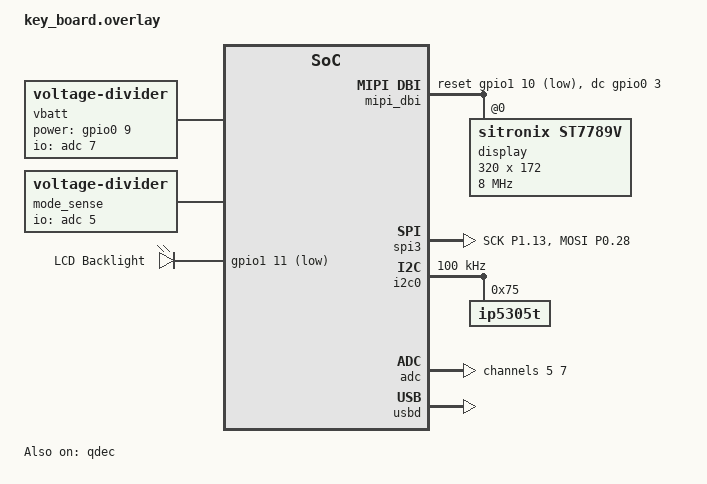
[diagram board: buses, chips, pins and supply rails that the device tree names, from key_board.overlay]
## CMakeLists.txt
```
# SPDX-License-Identifier: Apache-2.0

cmake_minimum_required(VERSION 3.20.0)

find_package(Zephyr REQUIRED HINTS $ENV{ZEPHYR_BASE})
project(KEYBOARD)

zephyr_include_directories(inc)

target_sources(app PRIVATE src/main.c src/battery.c src/mode_switch.c src/power_mgmt.c src/events/battery_event.c src/events/mode_event.c src/events/encoder_event.c src/events/encoder_mapper.c src/encoder_button_control.c src/encoder.c src/keyboard_core.c src/keymap.c src/usb_transport.c src/ble_transport.c src/lcd_display.c src/events/hid_kbd_report_event.c src/events/hid_consumer_report_event.c src/events/set_protocol_event.c src/events/ble_state_event.c src/events/ble_control_event.c)
```

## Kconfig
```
mainmenu "NRF Keyboard"

source "$(ZEPHYR_BASE)/Kconfig.zephyr"

rsource "Kconfig.app"
```

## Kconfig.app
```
config NRF_KEYBOARD_KCONFIG_TEST
	bool "NRF Keyboard Kconfig probe"
	default y
	help
	  探针：验证应用 Kconfig.app 是否被加载。
	  构建后检查 CONFIG_NRF_KEYBOARD_KCONFIG_TEST=y。

menu "应用模块日志等级"

module = BLE_TRANSPORT
module-str = ble_transport
source "$(ZEPHYR_BASE)/subsys/logging/Kconfig.template.log_config"

module = USB_TRANSPORT
module-str = usb_transport
source "$(ZEPHYR_BASE)/subsys/logging/Kconfig.template.log_config"

module = KEYBOARD_CORE
module-str = keyboard_core
source "$(ZEPHYR_BASE)/subsys/logging/Kconfig.template.log_config"

module = MODE_SWITCH
module-str = mode_switch
source "$(ZEPHYR_BASE)/subsys/logging/Kconfig.template.log_config"

module = POWER_MGMT
module-str = power_mgmt
source "$(ZEPHYR_BASE)/subsys/logging/Kconfig.template.log_config"

module = ENCODER
module-str = encoder
source "$(ZEPHYR_BASE)/subsys/logging/Kconfig.template.log_config"

module = ENCODER_MAPPER
module-str = encoder_mapper
source "$(ZEPHYR_BASE)/subsys/logging/Kconfig.template.log_config"

module = ENCODER_BUTTON_CONTROL
module-str = encoder_button_control
source "$(ZEPHYR_BASE)/subsys/logging/Kconfig.template.log_config"

module = BATTERY
module-str = battery
source "$(ZEPHYR_BASE)/subsys/logging/Kconfig.template.log_config"

module = MAIN
module-str = main
source "$(ZEPHYR_BASE)/subsys/logging/Kconfig.template.log_config"

endmenu
```

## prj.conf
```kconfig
# ==============================================================================
# 1. 基础系统配置 (System Configuration)
# ==============================================================================
CONFIG_HEAP_MEM_POOL_SIZE=2048
CONFIG_ASSERT=y

# ==============================================================================
# 2. 硬件外设驱动 (Hardware Drivers)
# ==============================================================================
CONFIG_GPIO=y
CONFIG_I2C=y
CONFIG_SPI=y

# ==============================================================================
# 3. 日志与调试终端 (Logging & Debugging - RTT)
# ==============================================================================
CONFIG_LOG=y
CONFIG_LOG_DEFAULT_LEVEL=3
CONFIG_LOG_BUFFER_SIZE=4096
CONFIG_CONSOLE=y
CONFIG_USE_SEGGER_RTT=y
CONFIG_RTT_CONSOLE=y

# ==============================================================================
# 4. 事件管理器与 CAF 框架 (Event Manager & CAF)
# ==============================================================================
# 这些是实现按键事件扫描和分发的核心，必须开启！
CONFIG_APP_EVENT_MANAGER=y
CONFIG_APP_EVENT_MANAGER_LOG_LEVEL_DBG=y
CONFIG_CAF=y
CONFIG_CAF_BUTTONS=y


# ==============================================================================
# 5. 电源管理模块 (CAF Power Manager)
# ==============================================================================
CONFIG_REBOOT=y
CONFIG_CAF_POWER_MANAGER=y

# [调试专用] 开启后设备会永远保持唤醒，不会进入休眠（会屏蔽下方的 120 秒超时）
# 如果你要测试 120 秒自动休眠，请把下面这行前面的 # 号保留（即注释掉）
CONFIG_CAF_POWER_MANAGER_STAY_ON=y

CONFIG_CAF_POWER_MANAGER_TIMEOUT=120
CONFIG_CAF_POWER_MANAGER_ERROR_TIMEOUT=30
CONFIG_CAF_POWER_MANAGER_CLEAR_RESET_REASON=y

# 开启事件防休眠机制（按键操作会重置休眠定时器，重新计算 120 秒）
CONFIG_CAF_KEEP_ALIVE_EVENTS=y
CONFIG_CAF_BUTTONS_PM_KEEP_ALIVE=y

# ==============================================================================
# 6. ADC 与电池电压检测 (ADC & Battery Voltage)
# ==============================================================================
CONFIG_ADC=y
CONFIG_SENSOR=y
CONFIG_VOLTAGE_DIVIDER=y
CONFIG_PM_DEVICE=y
CONFIG_PM_DEVICE_RUNTIME=y

# ==============================================================================
# 7. USB 设备驱动 (USBD Next Stack + HID)
# ==============================================================================
# 1. 彻底关闭老版本 USB 栈（防止符号冲突）
CONFIG_USB_DEVICE_STACK=n
# 2. 正确开启新版本 USB 设备栈
CONFIG_USB_DEVICE_STACK_NEXT=y
# 3. 开启新版 HID 键盘支持
CONFIG_USBD_HID_SUPPORT=y
# 4. 开启类请求分发器，让 HID 驱动自动应答 SET_IDLE/GET_IDLE
CONFIG_USB_DEVICE_STACK_NEXT=y
CONFIG_USBD_HID_SUPPORT=y
# 5. 开启底层协议栈详细调试日志（定位描述符问题用，稳定后可关闭）
CONFIG_USB_DEVICE_LOG_LEVEL_DBG=y
# 修正：新版协议栈的调试日志符号（若不需要可以不加，需要则用下面这行）
CONFIG_USBD_LOG_LEVEL_WRN=y
CONFIG_UDC_DRIVER_LOG_LEVEL_WRN=y
CONFIG_USBD_HID_LOG_LEVEL_WRN=y
# 6. 增大 USB HID IN 缓冲池（默认2），修复按键高峰期 net_buf 分配失败
CONFIG_USBD_HID_IN_BUF_COUNT=8
# USB Device Stack Next: enlarge UDC buffer pool
# Fix: udc Failed to allocate net_buf 1026/4095 during EP0 control transfers.
CONFIG_UDC_BUF_COUNT=32
CONFIG_UDC_BUF_POOL_SIZE=8192
# ==============================================================================
# 8. Ring Buffer (环形缓冲区 — USB 传输层生产者/消费者桥梁)
# ==============================================================================
CONFIG_RING_BUFFER=y

# ==============================================================================
# 9. BLE HID 传输层 (Bluetooth HID over GATT)
# ==============================================================================
CONFIG_BT=y
CONFIG_BT_PERIPHERAL=y
CONFIG_BT_DEVICE_NAME="NRF Keyboard"
CONFIG_BT_DEVICE_APPEARANCE=961
CONFIG_BT_SMP=y
CONFIG_BT_BONDABLE=y
CONFIG_BT_MAX_PAIRED=1
CONFIG_BT_ID_MAX=2
CONFIG_BT_GATT_CLIENT=n
CONFIG_BT_SETTINGS=y
CONFIG_BT_BUF_EVT_RX_COUNT=32
CONFIG_BT_BUF_ACL_TX_COUNT=24
CONFIG_BT_CONN_TX_MAX=24
# 回退连接参数至安全默认值，为主机留出充裕的协商空间（修复 Reason 8 / Reason 22 断连）
CONFIG_BT_PERIPHERAL_PREF_MIN_INT=24
CONFIG_BT_PERIPHERAL_PREF_MAX_INT=40
CONFIG_BT_PERIPHERAL_PREF_LATENCY=4
CONFIG_BT_PERIPHERAL_PREF_TIMEOUT=400
CONFIG_BT_L2CAP_TX_BUF_COUNT=24
CONFIG_BT_ATT_TX_COUNT=24

# BLE pairing stability / debug
CONFIG_BT_GATT_AUTO_SEC_REQ=n
CONFIG_BT_AUTO_PHY_UPDATE=n
CONFIG_BT_SECURITY_ERR_TO_STR=y
CONFIG_BT_SMP_APP_PAIRING_ACCEPT=y
CONFIG_BT_HIDS_DEFAULT_PERM_RW_ENCRYPT=y

# ==============================================================================
# 10. Settings 持久化存储 (保存 BLE bonding 与 CCCD)
# ==============================================================================
CONFIG_FLASH=y
CONFIG_FLASH_MAP=y
CONFIG_NVS=y
CONFIG_SETTINGS=y
CONFIG_SETTINGS_NVS=y

# ==============================================================================
# 11. QDEC 正交解码器 (用于 EC11 旋转编码器)
# ==============================================================================
CONFIG_QDEC_NRFX=y

# ==============================================================================
# 12. LVGL 图形库 (LVGL v9.3.0 Graphics Library)
# ==============================================================================
CONFIG_LVGL=y
CONFIG_LV_COLOR_DEPTH_16=y
CONFIG_LV_Z_BITS_PER_PIXEL=16
CONFIG_LV_Z_MEM_POOL_SIZE=8192
CONFIG_LV_USE_LABEL=y
CONFIG_LV_FONT_MONTSERRAT_14=y
CONFIG_LV_Z_RUN_LVGL_ON_WORKQUEUE=y
CONFIG_DISPLAY=y
# LVGL 在 Zephyr 专用工作队列运行 lv_timer_handler，并自动初始化
CONFIG_LV_Z_RUN_LVGL_ON_WORKQUEUE=y
# Zephyr ST7789V display driver 接管硬件初始化
CONFIG_DISPLAY=y
CONFIG_ST7789V=y
CONFIG_ST7789V_RGB565=y

# ==============================================================================
# 13. 模块级日志分级覆写 (Per-Module Log Level Override)
# ==============================================================================
# 全局 CONFIG_LOG_DEFAULT_LEVEL=4 会触发内核 MPU 模块日志洪灾
# (mpu_configure_region / region_allocate_and_init 高频打印)，
# 导致 RTT 后端丢包，冲刷业务模块探测点。
# 以下强制压制 MPU 日志输出，将 RTT 带宽留给 power_mgmt 等业务模块。
CONFIG_MPU_LOG_LEVEL_ERR=y
```

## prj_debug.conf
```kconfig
# ==============================================================================
# 调试叠加配置 — 仅在开发/调试时使用
# 使用方式: west build -- -DEXTRA_CONF_FILE=prj_debug.conf
#
# 按任务只打开当前调试模块，不要全开。
# ==============================================================================

# --- USB 传输层 (当前正在调试) ---
# CONFIG_USB_TRANSPORT_LOG_LEVEL_DBG=y

# --- BLE 传输层 (已稳定，需要时取消注释) ---
# CONFIG_BLE_TRANSPORT_LOG_LEVEL_DBG=y

# --- 键盘核心 ---
# CONFIG_KEYBOARD_CORE_LOG_LEVEL_DBG=y

# --- 电源管理 ---
# CONFIG_POWER_MGMT_LOG_LEVEL_DBG=y

# --- 档位检测 ---
# CONFIG_MODE_SWITCH_LOG_LEVEL_DBG=y

# --- 编码器 ---
# CONFIG_ENCODER_LOG_LEVEL_DBG=y
# CONFIG_ENCODER_MAPPER_LOG_LEVEL_DBG=y
```

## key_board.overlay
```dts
/*
 * Battery voltage measurement using voltage-divider.
 *
 * Circuit:
 *   VBAT ── R6(100k) ──┬── BAT_ADC ── R8(100k) ── Q1(N-MOSFET) ── GND
 *                       │
 *                     C29(100nF)
 *                       │
 *                      GND
 *
 *   Q1 gate: BAT_ADC_EN (P0.09 / NFC1) ── HIGH = divider active, LOW = power saving
 *   BAT_ADC: P0.31 = AIN7
 *
 *   注意: P0.09 默认是 NFC1 天线引脚，需在 prj.conf 开启
 *   CONFIG_NFCT_PINS_AS_GPIOS=y 才能释放为 GPIO。
 */

#include <zephyr/dt-bindings/gpio/gpio.h>
#include <zephyr/dt-bindings/mipi_dbi/mipi_dbi.h>

/ {
    chosen {
        zephyr,display = &display;
    };

    vbatt: vbatt {
        compatible = "voltage-divider";
        io-channels = <&adc 7>;
        output-ohms = <100000>;
        full-ohms = <200000>;
        /*
         * BAT_ADC_EN — P0.09, 控制 N-MOS (Q1) 导通/关断分压电路。
         * HIGH = 分压使能, LOW = 省电。
         * 分压比 1: 2 (R6=R8=100k), 驱动自动还原真实电池电压。
         * C29=100nF, Rth=50kΩ, τ=5ms, 需 ≥6τ (30ms) 延时方可 ADC 采样。
         */
        power-gpios = <&gpio0 9 GPIO_ACTIVE_HIGH>;
    };

    mode_sense: mode_sense {
        compatible = "voltage-divider";
        io-channels = <&adc 5>;
        output-ohms = <100000>;
        full-ohms = <100000>;
    };

    /*
     * IP5305T WAKEUP control GPIO — P0.22.
     * Output, initially high. A periodic low pulse (~200μs) every ~2s
     * keeps the IP5305T from entering sleep mode.
     */
    ip5305t_wakeup: ip5305t-wakeup {
        gpios = <&gpio0 22 GPIO_ACTIVE_LOW>;
    };

    lcd_backlight_ctrl {
        compatible = "gpio-leds";

        lcd_backlight: lcd_backlight {
            gpios = <&gpio1 11 GPIO_ACTIVE_LOW>;
            label = "LCD Backlight";
        };
    };

/*
 * MIPI DBI SPI ST7789V 显示设备。
 * 由 Zephyr display driver 接管硬件初始化（上电序列、窗口、像素写入），
 * LVGL 通过 display API 渲染，自定义 flush_cb 不再需要。
 */
mipi_dbi: mipi-dbi-spi {
    compatible = "zephyr,mipi-dbi-spi";
    spi-dev = <&spi3>;
    dc-gpios = <&gpio0 3 GPIO_ACTIVE_HIGH>;
    reset-gpios = <&gpio1 10 GPIO_ACTIVE_LOW>;
    write-only;
    #address-cells = <1>;
    #size-cells = <0>;

    display: st7789v@0 {
        compatible = "sitronix,st7789v";
        reg = <0>;
        mipi-max-frequency = <8000000>;
        mipi-mode = "MIPI_DBI_MODE_SPI_4WIRE";
        width = <320>;
        height = <172>;
        x-offset = <0>;
        y-offset = <35>;
        vcom = <0x20>;
        gctrl = <0x35>;
        mdac = <0xa0>;
        lcm = <0x2c>;
        colmod = <0x55>;
        gamma = <0x04>;
        porch-param = [0c 0c 00 33 33];
        cmd2en-param = [ff ff ff];
        pwctrl1-param = [a4 a1];
        pvgam-param = [f0 00 04 04 05 07 32 34 3d 08 11 0f 2c 33];
        nvgam-param = [f0 07 09 04 0c 08 2e 2b 2b 18 16 11 30 33];
        ram-param = [00 f0];
        rgb-param = [cd 08 14];
    };
};

};

&pinctrl {
    spi3_default: spi3_default {
        group1 {
            psels = <NRF_PSEL(SPIM_SCK, 1, 13)>,
                    <NRF_PSEL(SPIM_MOSI, 0, 28)>;
        };
    };

    spi3_sleep: spi3_sleep {
        group1 {
            psels = <NRF_PSEL_DISCONNECTED(SPIM_SCK)>,
                    <NRF_PSEL_DISCONNECTED(SPIM_MOSI)>;
            low-power-enable;
        };
    };
};

&spi3 {
    status = "okay";
    pinctrl-0 = <&spi3_default>;
    pinctrl-1 = <&spi3_sleep>;
    pinctrl-names = "default", "sleep";
    cs-gpios = <&gpio0 2 GPIO_ACTIVE_LOW>;
};

/*
 * I2C bus for IP5305T communication.
 * SDA: P1.00 (pin 32), SCL: P0.24 (pin 24)
 */
&i2c0 {
    status = "okay";
    pinctrl-0 = <&i2c0_default>;
    pinctrl-1 = <&i2c0_sleep>;
    pinctrl-names = "default", "sleep";
    clock-frequency = <I2C_BITRATE_STANDARD>;

    ip5305t: ip5305t@75 {
        reg = <0x75>;
    };
};

&adc {
    status = "okay";
    #address-cells = <1>;
    #size-cells = <0>;

    channel@5 {
        reg = <5>;
        zephyr,gain = "ADC_GAIN_1_6";
        zephyr,reference = "ADC_REF_INTERNAL";
        zephyr,acquisition-time = <ADC_ACQ_TIME_DEFAULT>;
        zephyr,input-positive = <NRF_SAADC_AIN5>;
        zephyr,resolution = <12>;
    };

    channel@7 {
        reg = <7>;
        zephyr,gain = "ADC_GAIN_1_6";
        zephyr,reference = "ADC_REF_INTERNAL";
        zephyr,acquisition-time = <ADC_ACQ_TIME_DEFAULT>;
        zephyr,input-positive = <NRF_SAADC_AIN7>;
        zephyr,resolution = <12>;
    };
};

/*
 * QDEC 旋转编码器 — EC11 (P0.10=A相, P1.06=B相)
 * P0.10 原为 VBUS 检测 GPIO，现已迁移至 USBD 硬件事件检测，归还给 QDEC。
 * led-pre=4: 硬件每累积 4 steps (1 detent) 触发 SENSOR_TRIG_DATA_READY 中断。
 */
&qdec {
    status = "okay";
    led-pre = <4>;
    steps = <80>;
    pinctrl-0 = <&qdec_default>;
    pinctrl-1 = <&qdec_sleep>;
    pinctrl-names = "default", "sleep";
};

/* 使能 USBD 外设用于 VBUS 硬件检测 (USBDETECTED/USBREMOVED) */
&usbd {
    status = "okay";
};

/ {
    hid_dev_0: hid_dev_0 {
        compatible = "zephyr,hid-device";
        label = "HID_KEYBOARD";
        protocol-code = "keyboard";
        in-report-size = <64>;
        in-polling-period-us = <1000>;
    };
};

/* 释放 NFC 引脚 P0.09 为 GPIO（BAT_ADC_EN 仍需使用） */
&uicr {
    nfct-pins-as-gpios;
};
```

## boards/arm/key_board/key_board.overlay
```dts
/*
 * Battery voltage measurement using voltage-divider.
 *
 * Circuit:
 *   VBAT ── R6(100k) ──┬── BAT_ADC ── R8(100k) ── Q1(N-MOSFET) ── GND
 *                       │
 *                     C29(100nF)
 *                       │
 *                      GND
 *
 *   Q1 gate: BAT_ADC_EN (P0.09 / NFC1) ── HIGH = divider active, LOW = power saving
 *   BAT_ADC: P0.31 = AIN7
 *
 *   注意: P0.09 默认是 NFC1 天线引脚，需在 prj.conf 开启
 *   CONFIG_NFCT_PINS_AS_GPIOS=y 才能释放为 GPIO。
 */

#include <zephyr/dt-bindings/gpio/gpio.h>

/ {
    vbatt: vbatt {
        compatible = "voltage-divider";
        io-channels = <&adc 7>;
        output-ohms = <100000>;
        full-ohms = <200000>;
        /*
         * BAT_ADC_EN — P0.09, 控制 N-MOS (Q1) 导通/关断分压电路。
         * HIGH = 分压使能, LOW = 省电。
         * 分压比 1: 2 (R6=R8=100k), 驱动自动还原真实电池电压。
         * C29=100nF, Rth=50kΩ, τ=5ms, 需 ≥6τ (30ms) 延时方可 ADC 采样。
         */
        power-gpios = <&gpio0 9 GPIO_ACTIVE_HIGH>;
    };

    mode_sense: mode_sense {
        compatible = "voltage-divider";
        io-channels = <&adc 5>;
        output-ohms = <100000>;
        full-ohms = <100000>;
    };

    /*
     * IP5305T WAKEUP control GPIO — P0.22.
     * Output, initially high. A periodic low pulse (~200μs) every ~2s
     * keeps the IP5305T from entering sleep mode.
     */
    ip5305t_wakeup: ip5305t-wakeup {
        gpios = <&gpio0 22 GPIO_ACTIVE_LOW>;
    };
};

/*
 * I2C bus for IP5305T communication.
 * SDA: P1.00 (pin 32), SCL: P0.24 (pin 24)
 */
&i2c0 {
    status = "okay";
    pinctrl-0 = <&i2c0_default>;
    pinctrl-1 = <&i2c0_sleep>;
    pinctrl-names = "default", "sleep";
    clock-frequency = <I2C_BITRATE_STANDARD>;

    ip5305t: ip5305t@75 {
        reg = <0x75>;
    };
};

&adc {
    status = "okay";
    #address-cells = <1>;
    #size-cells = <0>;

    channel@5 {
        reg = <5>;
        zephyr,gain = "ADC_GAIN_1_6";
        zephyr,reference = "ADC_REF_INTERNAL";
        zephyr,acquisition-time = <ADC_ACQ_TIME_DEFAULT>;
        zephyr,input-positive = <NRF_SAADC_AIN5>;
        zephyr,resolution = <12>;
    };

    channel@7 {
        reg = <7>;
        zephyr,gain = "ADC_GAIN_1_6";
        zephyr,reference = "ADC_REF_INTERNAL";
        zephyr,acquisition-time = <ADC_ACQ_TIME_DEFAULT>;
        zephyr,input-positive = <NRF_SAADC_AIN7>;
        zephyr,resolution = <12>;
    };
};

/*
 * QDEC 旋转编码器 — EC11 (P0.10=A相, P1.06=B相)
 * P0.10 原为 VBUS 检测 GPIO，现已迁移至 USBD 硬件事件检测，归还给 QDEC。
 * led-pre=4: 硬件每累积 4 steps (1 detent) 触发 SENSOR_TRIG_DATA_READY 中断。
 */
&qdec {
    status = "okay";
    led-pre = <4>;
    steps = <80>;
    pinctrl-0 = <&qdec_default>;
    pinctrl-1 = <&qdec_sleep>;
    pinctrl-names = "default", "sleep";
};

/* 使能 USBD 外设用于 VBUS 硬件检测 (USBDETECTED/USBREMOVED) */
&usbd {
    status = "okay";
};

/ {
    hid_dev_0: hid_dev_0 {
        compatible = "zephyr,hid-device";
        label = "HID_KEYBOARD";
        protocol-code = "keyboard";
        in-report-size = <64>;
        in-polling-period-us = <1000>;
    };
};

/* 释放 NFC 引脚 P0.09 为 GPIO（BAT_ADC_EN 仍需使用） */
&uicr {
    nfct-pins-as-gpios;
};
```

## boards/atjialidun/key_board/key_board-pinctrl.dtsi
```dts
&pinctrl {
    i2c0_default: i2c0_default {
        group1 {
            psels = <NRF_PSEL(TWIM_SDA, 1, 0)>,
                    <NRF_PSEL(TWIM_SCL, 0, 24)>;
        };
    };
    i2c0_sleep: i2c0_sleep {
        group1 {
            psels = <NRF_PSEL(TWIM_SDA, 1, 0)>,
                    <NRF_PSEL(TWIM_SCL, 0, 24)>;
            low-power-enable;
        };
    };

    /* EC11 旋转编码器: A/P0.10, B/P1.06
     * EC11 C 脚接 GND，A/B 断开时浮空，必须使能内部上拉
     * 以保证 QDEC 能检测到稳定的高/低电平跳变。
     */
    qdec_default: qdec_default {
        group1 {
            psels = <NRF_PSEL(QDEC_A, 0, 10)>,
                    <NRF_PSEL(QDEC_B, 1, 6)>;
            bias-pull-up;
        };
    };
    qdec_sleep: qdec_sleep {
        group1 {
            psels = <NRF_PSEL_DISCONNECTED(QDEC_A)>,
                    <NRF_PSEL_DISCONNECTED(QDEC_B)>;
            low-power-enable;
        };
    };
};
```

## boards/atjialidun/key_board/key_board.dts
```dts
/dts-v1/;
#include <nordic/nrf52840_qiaa.dtsi>
#include "key_board-pinctrl.dtsi"

/ {
	model = "key board";
	compatible = "atjialidun,key-board";

	chosen {
		zephyr,sram = &sram0;
		zephyr,flash = &flash0;
		zephyr,code-partition = &slot0_partition;
	};
};

&flash0 {
	partitions {
		compatible = "fixed-partitions";
		#address-cells = <1>;
		#size-cells = <1>;

		boot_partition: partition@0 {
			label = "mcuboot";
			reg = <0x00000000 DT_SIZE_K(48)>;
		};

		slot0_partition: partition@c000 {
			label = "image-0";
			reg = <0x0000c000 DT_SIZE_K(944)>;
		};

		storage_partition: partition@f8000 {
			label = "storage";
			reg = <0x000f8000 DT_SIZE_K(32)>;
		};
	};
};

&gpio0 {
	status = "okay";
};

&gpio1 {
	status = "okay";
};

&gpiote {
	status = "okay";
};

/* 给现有的 usbd 节点追加一个 zephyr_udc0 的 label 别名 */
zephyr_udc0: &usbd {
    status = "okay";
};

/ {
    chosen {
        zephyr,udc0 = &usbd;
    };
};

&usbd {
    status = "okay";
};
```

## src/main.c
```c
#include <app_event_manager.h>

#define MODULE main
#include <caf/events/module_state_event.h>

#include <zephyr/logging/log.h>
#ifndef CONFIG_MAIN_LOG_LEVEL
#define MAIN_LOG_LEVEL CONFIG_LOG_DEFAULT_LEVEL
#else
#define MAIN_LOG_LEVEL CONFIG_MAIN_LOG_LEVEL
#endif
LOG_MODULE_REGISTER(MODULE, MAIN_LOG_LEVEL);

#include "encoder.h"
#include "ble_transport.h"
#include "keyboard_core.h"
#include "lcd_display.h"
#include "mode_switch.h"
#include "power_mgmt.h"
#include "usb_transport.h"

int main(void)
{
    if (app_event_manager_init())
    {
        LOG_ERR("Application Event Manager not initialized");
    }
    else
    {
        module_set_state(MODULE_STATE_READY);
    }

    if (power_mgmt_init() != 0)
    {
        LOG_ERR("Power management init failed");
    }

    if (encoder_init() != 0)
    {
        LOG_ERR("Encoder init failed");
    }

    if (mode_switch_init() != 0)
    {
        LOG_ERR("Mode switch detection init failed");
    }

    if (keyboard_core_init() != 0)
    {
        LOG_ERR("Keyboard core init failed");
    }

    if (lcd_display_init() != 0)
    {
        LOG_ERR("LCD display init failed");
    }

    if (usb_transport_init() != 0)
    {
        LOG_ERR("USB transport init failed");
    }

    if (ble_transport_init() != 0)
    {
        LOG_ERR("BLE transport init failed");
    }

    return 0;
}
```

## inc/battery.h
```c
#ifndef BATTERY_H_
#define BATTERY_H_

#include <stdint.h>

/**
 * @brief Initialize the battery voltage measurement subsystem.
 *
 * @retval 0 on success, negative error code otherwise.
 */
int battery_init(void);

/**
 * @brief Get the current battery voltage.
 *
 * Powers up the measurement circuit, samples the ADC, converts raw
 * value to millivolts, and powers down the circuit.
 *
 * @param[out] voltage_mv Pointer to store the battery voltage in mV.
 * @retval 0 on success, negative error code otherwise.
 */
int battery_get_voltage_mv(int32_t *voltage_mv);

#endif /* BATTERY_H_ */
```

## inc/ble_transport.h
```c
#ifndef BLE_TRANSPORT_H_
#define BLE_TRANSPORT_H_

/**
 * @brief 初始化 BLE HID 传输层。
 *
 * 初始化蓝牙 Host、加载 settings 持久化数据，并根据当前拨档状态决定是否
 * 启动可连接广播。后续 HID 报告通过 CAF 事件进入本模块。
 *
 * @retval 0 成功，负值为错误码。
 */
int ble_transport_init(void);

#endif /* BLE_TRANSPORT_H_ */
```

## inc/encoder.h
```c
#ifndef ENCODER_H_
#define ENCODER_H_

/**
 * @brief 初始化 QDEC 旋转编码器驱动。
 *
 * 校准 QDEC 外设，使能传感器并启动周期性采样工作队列。
 *
 * @retval 0 成功，负值为错误码。
 */
int encoder_init(void);

#endif /* ENCODER_H_ */
```

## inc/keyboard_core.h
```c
#ifndef KEYBOARD_CORE_H_
#define KEYBOARD_CORE_H_

/**
 * @brief 初始化键盘核心模块。
 *
 * 订阅 button_event 和 set_protocol_event，启动按键状态管理与 HID 报告生成。
 *
 * @retval 0 成功，负值为错误码。
 */
int keyboard_core_init(void);

#endif /* KEYBOARD_CORE_H_ */
```

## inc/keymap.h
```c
#ifndef KEYMAP_H_
#define KEYMAP_H_

#include <stdint.h>

/** keymap 条目类型 */
#define KEY_TYPE_KBD      0 /**< 键盘键 (Usage Page 0x07) */
#define KEY_TYPE_CONSUMER 1 /**< 消费者键 (Usage Page 0x0C) */

/** 单个键位映射条目 */
struct keymap_entry {
	uint16_t key_id;   /**< button_event 中的 key_id */
	uint16_t hid_usage; /**< 目标 HID Usage ID */
	uint8_t  type;     /**< KEY_TYPE_KBD 或 KEY_TYPE_CONSUMER */
};

/** 查表：根据 key_id 查找对应的 keymap 条目。
 *
 * @param key_id  CAF Buttons 产生的按键 ID
 * @return 找到返回条目指针，未找到返回 NULL
 */
const struct keymap_entry *keymap_lookup(uint16_t key_id);

#endif /* KEYMAP_H_ */
```

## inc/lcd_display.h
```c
#ifndef LCD_DISPLAY_H_
#define LCD_DISPLAY_H_

int lcd_display_init(void);

#endif /* LCD_DISPLAY_H_ */
```

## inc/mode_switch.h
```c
#ifndef MODE_SWITCH_H_
#define MODE_SWITCH_H_

#include <stdint.h>

enum mode_switch_position {
	MODE_SWITCH_POS_UNKNOWN = 0,
	MODE_SWITCH_POS_USB,
	MODE_SWITCH_POS_BLE,
	MODE_SWITCH_POS_2G4,
};

int mode_switch_init(void);
int mode_switch_get_position(enum mode_switch_position *pos);

#endif /* MODE_SWITCH_H_ */
```

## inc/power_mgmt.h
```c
#ifndef POWER_MGMT_H_
#define POWER_MGMT_H_

#include <stdbool.h>
#include <stdint.h>

/**
 * @brief Initialize the power management subsystem.
 *
 * Sets up I2C communication with IP5305T, the battery ADC voltage divider,
 * VBUS detection GPIO, and the WAKEUP pulse timer.
 *
 * @retval 0 on success, negative error code otherwise.
 */
int power_mgmt_init(void);

/**
 * @brief Get the battery voltage.
 *
 * Powers up the measurement circuit, samples the ADC, and powers down.
 *
 * @param[out] voltage_mv Battery voltage in millivolts.
 * @retval 0 on success, negative error code otherwise.
 */
int power_mgmt_get_battery_voltage_mv(int32_t *voltage_mv);

/**
 * @brief Get the battery charge level from the IP5305T fuel gauge.
 *
 * @param[out] level_pct Charge level in percent (0–100).
 * @retval 0 on success, negative error code otherwise.
 */
int power_mgmt_get_battery_level(uint8_t *level_pct);

/**
 * @brief Check whether the battery is currently charging.
 *
 * @param[out] charging true if charging, false otherwise.
 * @retval 0 on success, negative error code otherwise.
 */
int power_mgmt_is_charging(bool *charging);

/**
 * @brief Check whether the battery is fully charged.
 *
 * @param[out] full true if fully charged, false otherwise.
 * @retval 0 on success, negative error code otherwise.
 */
int power_mgmt_is_fully_charged(bool *full);

/**
 * @brief Check whether VBUS (USB 5V) is present.
 *
 * @param[out] present true if VBUS is detected, false otherwise.
 * @retval 0 on success, negative error code otherwise.
 */
int power_mgmt_is_vbus_present(bool *present);

#endif /* POWER_MGMT_H_ */
```

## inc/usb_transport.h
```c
#ifndef USB_TRANSPORT_H_
#define USB_TRANSPORT_H_

/**
 * @brief 初始化 USB 传输层。
 *
 * 注册 HID 报告描述符与 USB 设备配置，创建低优先级传输线程与环形缓冲区，
 * 订阅 hid_kbd_report_event 和 hid_consumer_report_event 事件。
 *
 * @retval 0 成功，负值为错误码。
 */
int usb_transport_init(void);

#endif /* USB_TRANSPORT_H_ */
```

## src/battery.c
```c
#define DT_DRV_COMPAT voltage_divider

#include "battery.h"

#include <zephyr/device.h>
#include <zephyr/drivers/sensor.h>
#include <zephyr/pm/device_runtime.h>
#include <zephyr/logging/log.h>

#ifndef CONFIG_BATTERY_LOG_LEVEL
#define BATTERY_LOG_LEVEL CONFIG_LOG_DEFAULT_LEVEL
#else
#define BATTERY_LOG_LEVEL CONFIG_BATTERY_LOG_LEVEL
#endif
LOG_MODULE_REGISTER(battery, BATTERY_LOG_LEVEL);

#define VBATT_NODE DT_NODELABEL(vbatt)

static const struct device *const vbatt_dev = DEVICE_DT_GET(VBATT_NODE);

int battery_init(void)
{
	if (!device_is_ready(vbatt_dev)) {
		LOG_ERR("Battery voltage divider device not ready");
		return -ENODEV;
	}

	LOG_INF("Battery measurement initialized");
	return 0;
}

int battery_get_voltage_mv(int32_t *voltage_mv)
{
	struct sensor_value val;
	int ret;

	ret = pm_device_runtime_get(vbatt_dev);
	if (ret < 0) {
		LOG_ERR("Failed to enable battery measurement: %d", ret);
		return ret;
	}

	ret = sensor_sample_fetch(vbatt_dev);
	if (ret < 0) {
		LOG_ERR("Failed to fetch sample: %d", ret);
		(void)pm_device_runtime_put(vbatt_dev);
		return ret;
	}

	ret = sensor_channel_get(vbatt_dev, SENSOR_CHAN_VOLTAGE, &val);
	if (ret < 0) {
		LOG_ERR("Failed to get voltage: %d", ret);
		(void)pm_device_runtime_put(vbatt_dev);
		return ret;
	}

	(void)pm_device_runtime_put(vbatt_dev);

	*voltage_mv = (int32_t)sensor_value_to_milli(&val);
	LOG_DBG("Battery: %d mV", *voltage_mv);
	return 0;
}
```

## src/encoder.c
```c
#define DT_DRV_COMPAT nordic_nrf_qdec
#include "encoder.h"

#include <app_event_manager.h>

#include <zephyr/device.h>
#include <zephyr/devicetree.h>
#include <zephyr/drivers/sensor.h>
#include <zephyr/kernel.h>
#include <zephyr/logging/log.h>
#include <zephyr/pm/device_runtime.h>

#include "events/encoder_event.h"

#ifndef CONFIG_ENCODER_LOG_LEVEL
#define ENCODER_LOG_LEVEL CONFIG_LOG_DEFAULT_LEVEL
#else
#define ENCODER_LOG_LEVEL CONFIG_ENCODER_LOG_LEVEL
#endif
LOG_MODULE_REGISTER(encoder, ENCODER_LOG_LEVEL);

#define QDEC_NODE    DT_NODELABEL(qdec)
#define QDEC_STEPS   DT_PROP(QDEC_NODE, steps)
#define QDEC_LED_PRE DT_PROP(QDEC_NODE, led_pre)

/* EC11: 20 物理卡点/圈, 80 steps/圈 → 4 steps 对应 1 个卡点 */
#define EC11_DETENTS_PER_REV 20
#define DETENT_STEPS         (QDEC_STEPS / EC11_DETENTS_PER_REV)

static const struct device *const qdec_dev = DEVICE_DT_GET(QDEC_NODE);
static struct k_work encoder_work;
static struct k_work_delayable self_test_work;

/* 跨触发窗口累积子卡点余数 */
static int32_t step_remainder;
/* 触发计数器，用于诊断 */
static uint32_t trigger_cnt;
/* 自检计数器 */
static uint32_t self_test_cnt;

static void encoder_self_test_handler(struct k_work *work)
{
	struct sensor_value val;
	int ret;

	self_test_cnt++;

	ret = sensor_sample_fetch(qdec_dev);
	if (ret == -EBUSY) {
		LOG_WRN("QDEC 自检 #%u: 设备忙，200ms 后重试", self_test_cnt);
		k_work_schedule(&self_test_work, K_MSEC(200));
		return;
	}
	if (ret < 0) {
		LOG_ERR("QDEC 自检 #%u: sample_fetch 失败: %d", self_test_cnt, ret);
		return;
	}

	ret = sensor_channel_get(qdec_dev, SENSOR_CHAN_ROTATION, &val);
	if (ret < 0) {
		LOG_ERR("QDEC 自检 #%u: channel_get 失败: %d", self_test_cnt, ret);
		return;
	}

	int64_t angle_micro = val.val1 * 1000000LL + val.val2;
	LOG_INF("QDEC 自检 #%u: angle_micro=%lld | "
		"硬件链路正常，但触发机制未生效",
		self_test_cnt, angle_micro, val.val1);
}

static void encoder_work_handler(struct k_work *work)
{
	struct sensor_value val;
	int64_t angle_micro, steps_raw, total_steps, detents;
	int ret;

	ret = sensor_sample_fetch(qdec_dev);
	if (ret < 0) {
		if (ret != -EOVERFLOW) {
			LOG_ERR("QDEC 采样失败: %d", ret);
		}
		return;
	}

	ret = sensor_channel_get(qdec_dev, SENSOR_CHAN_ROTATION, &val);
	if (ret < 0) {
		LOG_ERR("QDEC 通道读取失败: %d", ret);
		return;
	}

	/* angle_micro 是自上次 sample_fetch 以来的增量角度 (Δ 值) */
	angle_micro = val.val1 * 1000000LL + val.val2;

	trigger_cnt++;

	/* 首次触发确认：QDEC 硬件中断链路正常 */
	if (trigger_cnt == 1) {
		LOG_INF("QDEC 首次触发成功，链路正常");
	}

	/* Δ 角度 → 硬件 steps (边沿数) */
	steps_raw = angle_micro * QDEC_STEPS / 360000000LL;

	/* 合并余数 */
	total_steps = steps_raw + step_remainder;
	detents     = total_steps / DETENT_STEPS;
	step_remainder = (int32_t)(total_steps % DETENT_STEPS);

	/* 每 20 次触发输出一次诊断，避免刷屏 */
	if ((trigger_cnt % 20) == 0) {
		LOG_INF("QDEC 诊断 #%u: steps_raw=%lld 余数=%ld",
			trigger_cnt, steps_raw, step_remainder);
	}

	if (detents == 0) {
		return;
	}

	struct encoder_event *event = new_encoder_event();
	if (event == NULL) {
		LOG_ERR("编码器事件内存分配失败");
		return;
	}

	event->dir   = (detents > 0) ? 1 : -1;
	event->steps = (uint8_t)((detents > 0) ? detents : -detents);

	APP_EVENT_SUBMIT(event);
}

static void qdec_trigger_handler(const struct device *dev,
				 const struct sensor_trigger *trig)
{
	k_work_submit(&encoder_work);
}

int encoder_init(void)
{
	if (!device_is_ready(qdec_dev)) {
		LOG_ERR("QDEC 设备未就绪");
		return -ENODEV;
	}

	int ret = pm_device_runtime_get(qdec_dev);
	if (ret < 0) {
		LOG_ERR("QDEC 上电失败: %d", ret);
		return ret;
	}

	k_work_init(&encoder_work, encoder_work_handler);
	k_work_init_delayable(&self_test_work, encoder_self_test_handler);

	struct sensor_trigger trig = {
		.type = SENSOR_TRIG_DATA_READY,
		.chan = SENSOR_CHAN_ROTATION,
	};
	ret = sensor_trigger_set(qdec_dev, &trig, qdec_trigger_handler);
	if (ret < 0) {
		LOG_ERR("QDEC 触发器注册失败: %d", ret);
		return ret;
	}

	LOG_INF("QDEC 就绪 — A=P0.10 B=P1.06 steps=%d led-pre=%d 卡点/圈=%d",
		QDEC_STEPS, QDEC_LED_PRE, EC11_DETENTS_PER_REV);

	/* 自检：绕开触发机制，手动采样验证 QDEC 硬件是否在运行 */
	k_work_schedule(&self_test_work, K_MSEC(200));

	return 0;
}
```
